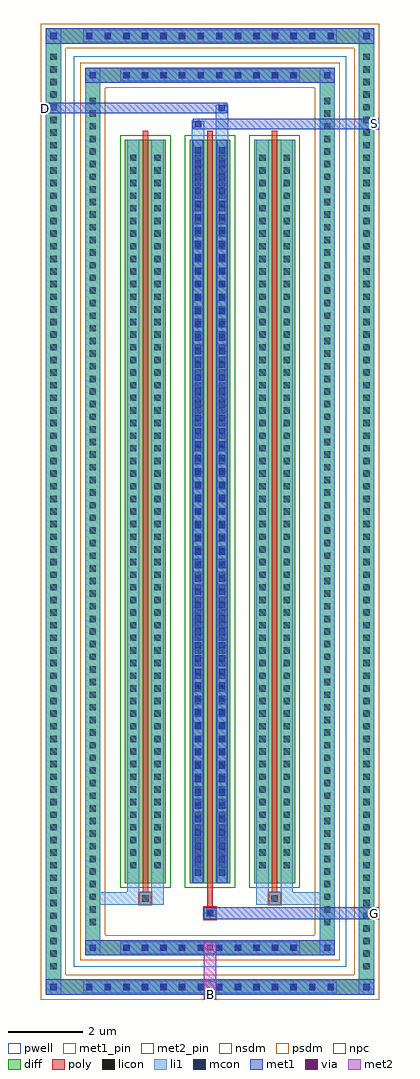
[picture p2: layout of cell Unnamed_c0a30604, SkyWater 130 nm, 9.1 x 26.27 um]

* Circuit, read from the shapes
.subckt Unnamed_c0a30604 B D G S
XM1 B B B VSUBS sky130_fd_pr__nfet_01v8 w=20 l=0.15 m=2
XM2 D G S VSUBS sky130_fd_pr__nfet_01v8 w=20 l=0.15
.ends

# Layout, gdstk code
import gdstk
lib = gdstk.Library(unit=1e-6, precision=5e-09)
def R(c, l, rs):  # rectangles x0, y0, x1, y1
    for r in rs: c.add(gdstk.rectangle(r[:2], r[2:], *l))
def A(c, l, x, y, w, h, nx, ny, dx, dy):  # array of equal rectangles
    R(c, l, [(x+i*dx, y+j*dy, x+i*dx+w, y+j*dy+h) for i in range(nx) for j in range(ny)])
def P(c, l, *ps):  # polygons
    for p in ps: c.add(gdstk.Polygon(p, *l))
pwell = (64, 44)
diff = (65, 20)
poly = (66, 20)
licon = (66, 44)
li1 = (67, 20)
mcon = (67, 44)
met1_pin = (68, 16)
met1 = (68, 20)
via = (68, 44)
met2_pin = (69, 16)
met2 = (69, 20)
nsdm = (93, 44)
psdm = (94, 20)
npc = (95, 20)

unnamed_c0a30604 = lib.new_cell('Unnamed_c0a30604')
R(unnamed_c0a30604, pwell, [(-3.67,-12.255,3.67,12.255)])
A(unnamed_c0a30604, diff, -3.455, -13.005, 0.41, 0.41, 14, 2, 0.5, 25.6)
A(unnamed_c0a30604, diff, -4.42, -12.445, 0.41, 0.41, 1, 73, 0, 0.34)
A(unnamed_c0a30604, diff, 4.01, -12.445, 0.41, 0.41, 1, 73, 0, 0.34)
A(unnamed_c0a30604, diff, -2.455, -11.945, 0.41, 0.41, 10, 2, 0.5, 23.48)
A(unnamed_c0a30604, diff, -3.36, -11.255, 0.41, 0.41, 1, 66, 0, 0.34)
A(unnamed_c0a30604, diff, 2.95, -11.255, 0.41, 0.41, 1, 66, 0, 0.34)
A(unnamed_c0a30604, diff, -2.29, -10, 1.1, 20, 3, 1, 1.74, 0)
R(unnamed_c0a30604, diff, [(-3.455,-13.005,3.455,-12.595), (-4.42,-12.445,-4.01,12.445), (4.01,-12.445,4.42,12.445), (-2.455,-11.945,2.455,-11.535), (-3.36,-11.255,-2.95,11.255), (2.95,-11.255,3.36,11.255), (-2.455,11.535,2.455,11.945), (-3.455,12.595,3.455,13.005)])
P(unnamed_c0a30604, diff, [(4.42,13.005),(-4.42,13.005),(-4.42,-12.595),(-4.01,-12.595),(-4.01,12.595),(4.01,12.595),(4.01,-12.595),(-4.01,-12.595),(-4.42,-12.595),(-4.42,-13.005),(4.42,-13.005)],
  [(3.36,11.945),(-3.36,11.945),(-3.36,-11.535),(-2.95,-11.535),(-2.95,11.535),(2.95,11.535),(2.95,-11.535),(-2.95,-11.535),(-3.36,-11.535),(-3.36,-11.945),(3.36,-11.945)])
A(unnamed_c0a30604, poly, -1.815, -10.25, 0.15, 20.5, 3, 1, 1.74, 0)
R(unnamed_c0a30604, poly, [(-0.165,-10.98,0.165,-10.65), (-0.165,-10.98,0.165,-10.65), (-0.075,-10.65,0.075,-10.25), (-1.905,-10.58,-1.575,-10.25), (-1.905,-10.58,-1.575,-10.25), (1.575,-10.58,1.905,-10.25), (1.575,-10.58,1.905,-10.25)])
A(unnamed_c0a30604, licon, -3.335, -12.885, 0.17, 0.17, 14, 2, 0.5, 25.6)
A(unnamed_c0a30604, licon, -4.3, -12.325, 0.17, 0.17, 1, 73, 0, 0.34)
A(unnamed_c0a30604, licon, 4.13, -12.325, 0.17, 0.17, 1, 73, 0, 0.34)
A(unnamed_c0a30604, licon, -2.335, -11.825, 0.17, 0.17, 10, 2, 0.5, 23.48)
A(unnamed_c0a30604, licon, -3.24, -11.135, 0.17, 0.17, 1, 66, 0, 0.34)
A(unnamed_c0a30604, licon, 3.07, -11.135, 0.17, 0.17, 1, 66, 0, 0.34)
A(unnamed_c0a30604, licon, -2.15, -9.605, 0.17, 0.17, 1, 57, 0, 0.34)
A(unnamed_c0a30604, licon, -1.5, -9.605, 0.17, 0.17, 1, 57, 0, 0.34)
A(unnamed_c0a30604, licon, -0.41, -9.605, 0.17, 0.17, 1, 57, 0, 0.34)
A(unnamed_c0a30604, licon, 0.24, -9.605, 0.17, 0.17, 1, 57, 0, 0.34)
A(unnamed_c0a30604, licon, 1.33, -9.605, 0.17, 0.17, 1, 57, 0, 0.34)
A(unnamed_c0a30604, licon, 1.98, -9.605, 0.17, 0.17, 1, 57, 0, 0.34)
R(unnamed_c0a30604, licon, [(-0.085,-10.9,0.085,-10.73), (-1.825,-10.5,-1.655,-10.33), (1.655,-10.5,1.825,-10.33)])
A(unnamed_c0a30604, li1, -3.415, -12.965, 0.33, 0.33, 14, 2, 0.5, 25.6)
A(unnamed_c0a30604, li1, -4.38, -12.405, 0.33, 0.33, 1, 73, 0, 0.34)
A(unnamed_c0a30604, li1, 4.05, -12.405, 0.33, 0.33, 1, 73, 0, 0.34)
A(unnamed_c0a30604, li1, -2.415, -11.905, 0.33, 0.33, 10, 2, 0.5, 23.48)
A(unnamed_c0a30604, li1, -3.32, -11.215, 0.33, 0.33, 1, 66, 0, 0.34)
A(unnamed_c0a30604, li1, 2.99, -11.215, 0.33, 0.33, 1, 66, 0, 0.34)
A(unnamed_c0a30604, li1, -0.41, -9.805, 0.17, 0.17, 1, 55, 0, 0.36)
A(unnamed_c0a30604, li1, 0.24, -9.805, 0.17, 0.17, 1, 55, 0, 0.36)
A(unnamed_c0a30604, li1, -2.23, -9.685, 0.33, 0.33, 1, 57, 0, 0.34)
A(unnamed_c0a30604, li1, -1.58, -9.685, 0.33, 0.33, 1, 57, 0, 0.34)
A(unnamed_c0a30604, li1, -0.49, -9.685, 0.33, 0.33, 1, 57, 0, 0.34)
A(unnamed_c0a30604, li1, 0.16, -9.685, 0.33, 0.33, 1, 57, 0, 0.34)
A(unnamed_c0a30604, li1, 1.25, -9.685, 0.33, 0.33, 1, 57, 0, 0.34)
A(unnamed_c0a30604, li1, 1.9, -9.685, 0.33, 0.33, 1, 57, 0, 0.34)
R(unnamed_c0a30604, li1, [(-4.42,-13.005,-4.01,-12.595), (4.01,-13.005,4.42,-12.595), (-3.415,-12.965,3.415,-12.635), (-4.3,-12.885,-4.13,-12.715), (-4.3,-12.885,-4.13,-12.715), (4.13,-12.885,4.3,-12.715), (4.13,-12.885,4.3,-12.715), (-4.42,-12.595,-4.01,12.595), (4.01,-12.595,4.42,12.595), (-3.36,-11.945,-2.95,-11.535), (2.95,-11.945,3.36,-11.535), (-2.415,-11.905,2.415,-11.575), (-3.24,-11.825,-3.07,-11.655), (-3.24,-11.825,-3.07,-11.655), (3.07,-11.825,3.24,-11.655), (3.07,-11.825,3.24,-11.655), (-3.36,-11.535,-2.95,11.535), (2.95,-11.535,3.36,11.535), (-0.165,-10.98,0.165,-10.65), (-3.36,-10.58,-1.905,-10.25), (-2.23,-10.58,-1.905,-10.25), (-2.23,-10.58,-1.9,-10), (-1.905,-10.58,-1.575,-10.25), (-1.58,-10.58,-1.25,-10), (-1.575,-10.58,-1.25,-10.25), (1.25,-10.58,1.575,-10.25), (1.25,-10.58,1.58,-10), (1.575,-10.58,1.905,-10.25), (1.575,-10.58,3.36,-10.25), (1.9,-10.58,2.23,-10), (1.905,-10.58,2.23,-10.25), (-2.23,-10,-1.9,10), (-1.58,-10,-1.25,10), (-0.49,-10,-0.16,10), (0.16,-10,0.49,10), (1.25,-10,1.58,10), (1.9,-10,2.23,10), (-0.41,-9.805,-0.24,9.805), (0.24,-9.805,0.41,9.805), (-0.49,10,-0.16,10.515), (0.16,10,0.49,10.945), (-0.41,10.345,-0.24,10.515), (0.24,10.775,0.41,10.945), (-3.36,11.535,-2.95,11.945), (2.95,11.535,3.36,11.945), (-2.415,11.575,2.415,11.905), (-3.24,11.655,-3.07,11.825), (-3.24,11.655,-3.07,11.825), (3.07,11.655,3.24,11.825), (3.07,11.655,3.24,11.825), (-4.42,12.595,-4.01,13.005), (4.01,12.595,4.42,13.005), (-3.415,12.635,3.415,12.965), (-4.3,12.715,-4.13,12.885), (-4.3,12.715,-4.13,12.885), (4.13,12.715,4.3,12.885), (4.13,12.715,4.3,12.885)])
A(unnamed_c0a30604, mcon, -3.335, -12.885, 0.17, 0.17, 14, 2, 0.5, 25.6)
A(unnamed_c0a30604, mcon, -2.335, -11.825, 0.17, 0.17, 10, 2, 0.5, 23.48)
A(unnamed_c0a30604, mcon, -0.41, -9.805, 0.17, 0.17, 1, 55, 0, 0.36)
A(unnamed_c0a30604, mcon, 0.24, -9.805, 0.17, 0.17, 1, 55, 0, 0.36)
R(unnamed_c0a30604, mcon, [(-4.3,-12.885,-4.13,-12.715), (4.13,-12.885,4.3,-12.715), (-3.24,-11.825,-3.07,-11.655), (3.07,-11.825,3.24,-11.655), (-0.085,-10.9,0.085,-10.73), (-0.41,10.345,-0.24,10.515), (0.24,10.775,0.41,10.945), (-3.24,11.655,-3.07,11.825), (3.07,11.655,3.24,11.825), (-4.3,12.715,-4.13,12.885), (4.13,12.715,4.3,12.885)])
R(unnamed_c0a30604, met1_pin, [(4.28,-10.95,4.55,-10.68), (4.28,10.295,4.55,10.565), (-4.55,10.725,-4.28,10.995)])
A(unnamed_c0a30604, met1, -3.395, -12.945, 0.29, 0.29, 14, 2, 0.5, 25.6)
A(unnamed_c0a30604, met1, -2.395, -11.885, 0.29, 0.29, 10, 2, 0.5, 23.48)
A(unnamed_c0a30604, met1, -0.47, -9.865, 0.29, 0.29, 1, 55, 0, 0.36)
A(unnamed_c0a30604, met1, 0.18, -9.865, 0.29, 0.29, 1, 55, 0, 0.36)
R(unnamed_c0a30604, met1, [(-4.42,-13.005,-4.01,-12.595), (-4.42,-13.005,-4.01,-12.595), (-4.01,-13.005,4.01,-12.595), (4.01,-13.005,4.42,-12.595), (4.01,-13.005,4.42,-12.595), (-4.36,-12.945,-4.07,-12.655), (4.07,-12.945,4.36,-12.655), (-3.36,-11.945,-2.95,-11.535), (-3.36,-11.945,-2.95,-11.535), (-2.95,-11.945,2.95,-11.535), (2.95,-11.945,3.36,-11.535), (2.95,-11.945,3.36,-11.535), (-3.3,-11.885,-3.01,-11.595), (3.01,-11.885,3.3,-11.595), (-0.165,-10.98,0.165,-10.65), (0.165,-10.98,4.55,-10.65), (-0.145,-10.96,0.145,-10.67), (-0.47,-10,-0.18,10), (0.18,-10,0.47,10), (-0.47,10.285,-0.18,10.575), (-0.47,10.285,0.47,10.575), (0.47,10.285,4.55,10.575), (-4.55,10.715,-0.47,11.005), (-0.47,10.715,0.47,11.005), (0.18,10.715,0.47,11.005), (-3.36,11.535,-2.95,11.945), (-3.36,11.535,-2.95,11.945), (-2.95,11.535,2.95,11.945), (2.95,11.535,3.36,11.945), (2.95,11.535,3.36,11.945), (-3.3,11.595,-3.01,11.885), (3.01,11.595,3.3,11.885), (-4.42,12.595,-4.01,13.005), (-4.42,12.595,-4.01,13.005), (-4.01,12.595,4.01,13.005), (4.01,12.595,4.42,13.005), (4.01,12.595,4.42,13.005), (-4.36,12.655,-4.07,12.945), (4.07,12.655,4.36,12.945)])
R(unnamed_c0a30604, via, [(-0.075,-11.815,0.075,-11.665)])
R(unnamed_c0a30604, met2_pin, [(-0.135,-13.135,0.135,-12.865)])
R(unnamed_c0a30604, met2, [(-0.165,-13.135,0.165,-11.575), (-0.165,-11.905,0.165,-11.575)])
A(unnamed_c0a30604, nsdm, -2.42, -10.13, 1.36, 20.26, 3, 1, 1.74, 0)
P(unnamed_c0a30604, psdm, [(4.55,13.135),(-4.55,13.135),(-4.55,-12.465),(-3.88,-12.465),(-3.88,12.465),(3.88,12.465),(3.88,-12.465),(-3.88,-12.465),(-4.55,-12.465),(-4.55,-13.135),(4.55,-13.135)],
  [(3.49,12.075),(-3.49,12.075),(-3.49,-11.405),(-2.82,-11.405),(-2.82,11.405),(2.82,11.405),(2.82,-11.405),(-2.82,-11.405),(-3.49,-11.405),(-3.49,-12.075),(3.49,-12.075)])
R(unnamed_c0a30604, npc, [(-0.185,-11,0.185,-10.63), (-1.925,-10.6,-1.555,-10.23), (1.555,-10.6,1.925,-10.23)])
unnamed_c0a30604.add(gdstk.Label('D', (-4.415,10.86), layer=68, texttype=5))
unnamed_c0a30604.add(gdstk.Label('S', (4.415,10.43), layer=68, texttype=5))
unnamed_c0a30604.add(gdstk.Label('G', (4.415,-10.815), layer=68, texttype=5))
unnamed_c0a30604.add(gdstk.Label('B', (0,-13), layer=69, texttype=5))

lib.write_gds('Unnamed_c0a30604.gds')
